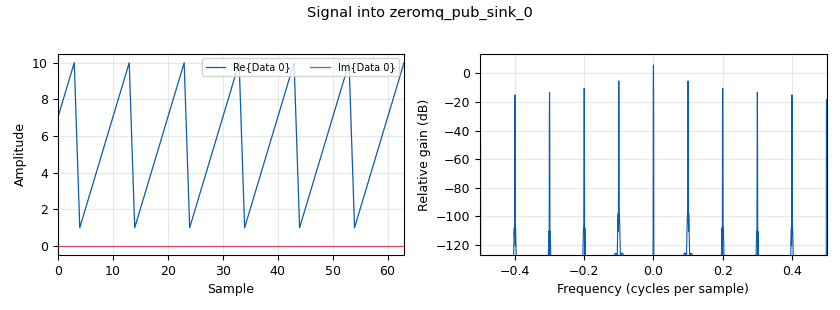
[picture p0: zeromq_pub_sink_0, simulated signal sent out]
options:
  parameters:
    generate_options: qt_gui
    id: pruebitas2
    output_language: python
    title: prueba2
  states: {}

blocks:
- name: samp_rate
  id: variable
  parameters:
    value: '32000'
  states: {}
- name: blocks_null_sink_0
  id: blocks_null_sink
  parameters:
    type: complex
  states: {}
- name: blocks_stream_to_vector_0
  id: blocks_stream_to_vector
  parameters:
    comment: esta parte recibe arreglos de dim 2
    type: complex
  states: {}
- name: blocks_vector_to_stream_0
  id: blocks_vector_to_stream
  parameters:
    num_items: '1'
    type: complex
    vlen: '10'
  states: {}
- name: epy_block_0
  id: epy_block
  parameters:
    _source_code: |
      """
      Embedded Python Blocks:

      Each time this file is saved, GRC will instantiate the first class it finds
      to get ports and parameters of your block. The arguments to __init__  will
      be the parameters. All of them are required to have default values!
      """

      import numpy as np
      from gnuradio import gr


      class blk(gr.sync_block):  # other base classes are basic_block, decim_block, interp_block
          """Embedded Python Block example - a simple multiply const"""

          def __init__(self, example_param=1.0):  # only default arguments here
              """arguments to this function show up as parameters in GRC"""
              gr.sync_block.__init__(
                  self,
                  name='Embedded Python Block',   # will show up in GRC
                  in_sig=[],
                  out_sig=[(np.complex64, 10)]
              )
              # if an attribute with the same name as a parameter is found,
              # a callback is registered (properties work, too).
              self.example_param = example_param
              self.lim = 5
              self.arr = [1, 2, 3, 4, 5, 6, 7, 8, 9, 10]

          def work(self, input_items, output_items):
              """example: multiply with constant"""
              output_items[0][:] = self.arr
              if self.lim > 0:
                      print("pub: ", self.arr)
                      self.lim = self.lim-1
              return 10
    comment: esta parte envia arreglos de dim 10
    example_param: '1.0'
  states: {}
- name: epy_block_0_0
  id: epy_block
  parameters:
    _source_code: |
      """
      Embedded Python Blocks:

      Each time this file is saved, GRC will instantiate the first class it finds
      to get ports and parameters of your block. The arguments to __init__  will
      be the parameters. All of them are required to have default values!
      """

      import numpy as np
      from gnuradio import gr


      class blk(gr.sync_block):  # other base classes are basic_block, decim_block, interp_block
          """Embedded Python Block example - a simple multiply const"""

          def __init__(self, example_param=1.0):  # only default arguments here
              """arguments to this function show up as parameters in GRC"""
              gr.sync_block.__init__(
                  self,
                  name='Embedded Python Block',   # will show up in GRC
                  in_sig=[(np.complex64,2)],
                  out_sig=[np.complex64]
              )
              # if an attribute with the same name as a parameter is found,
              # a callback is registered (properties work, too).
              self.example_param = example_param
              self.lim = 5
              self.arr = [0, 0]

          def work(self, input_items, output_items):
              """example: multiply with constant"""
              output_items = input_items[0]
              
              self.arr = np.real(input_items[0][0])

              if self.lim > 0:
                      print("sub: ", self.arr)
                      self.lim = self.lim - 1

              return len(output_items)
    example_param: '1.0'
  states: {}
- name: zeromq_pub_sink_0
  id: zeromq_pub_sink
  parameters:
    address: tcp://127.0.0.1:6000
    timeout: '100'
    type: complex
    vlen: '10'
  states: {}
- name: zeromq_sub_source_0
  id: zeromq_sub_source
  parameters:
    address: tcp://127.0.0.1:6010
    timeout: '100'
    type: complex
  states: {}

connections:
- [blocks_stream_to_vector_0, '0', epy_block_0_0, '0']
- [blocks_vector_to_stream_0, '0', zeromq_pub_sink_0, '0']
- [epy_block_0, '0', blocks_vector_to_stream_0, '0']
- [epy_block_0_0, '0', blocks_null_sink_0, '0']
- [zeromq_sub_source_0, '0', blocks_stream_to_vector_0, '0']

metadata:
  file_format: 1
